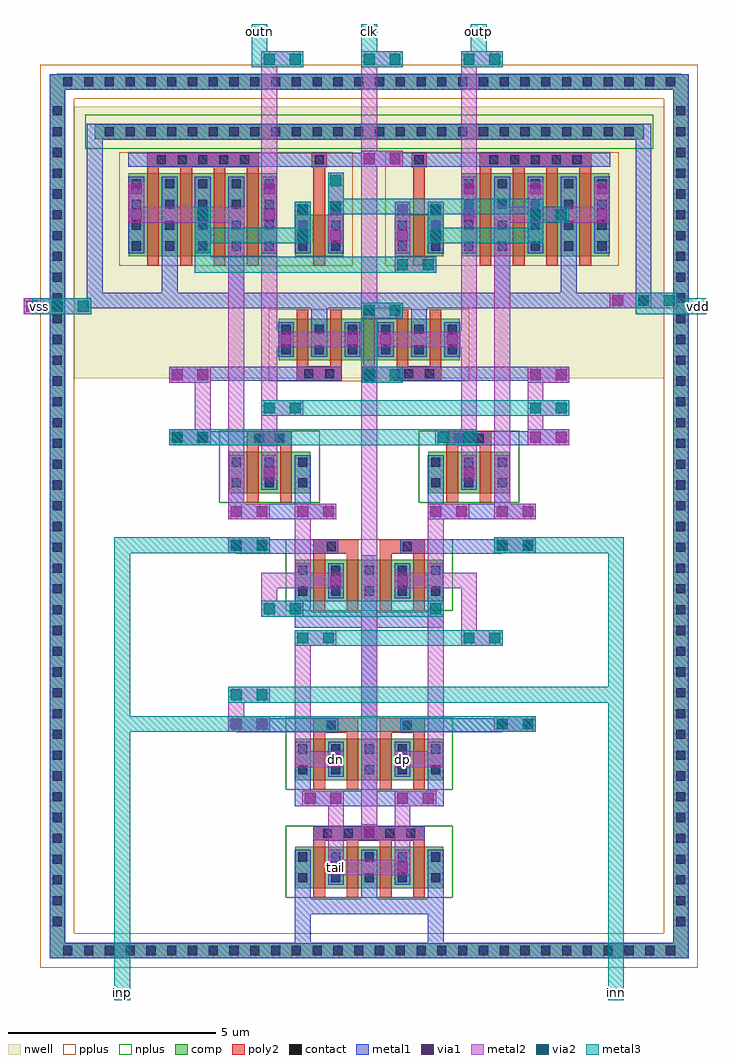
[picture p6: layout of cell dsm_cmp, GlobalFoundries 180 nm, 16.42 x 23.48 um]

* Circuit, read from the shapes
.subckt dsm_cmp clk dn dp inn inp outn outp tail vdd vss
XM1 outn outp dp vss nfet_03v3 w=1u l=0.28u m=2
XM2 tail clk vss vss nfet_03v3 w=1u l=0.28u m=4
XM3 dn inn tail vss nfet_03v3 w=1u l=0.28u m=4
XM4 dp inp tail vss nfet_03v3 w=1u l=0.28u m=4
XM5 outp outn dn vss nfet_03v3 w=1u l=0.28u m=2
XM6 vdd clk dp vdd pfet_03v3 w=2u l=0.28u m=3
XM7 outn clk vdd vdd pfet_03v3 w=2u l=0.28u
XM8 vdd outp outn vdd pfet_03v3 w=1u l=0.28u m=2
XM9 dn clk dp vdd pfet_03v3 w=1u l=0.28u m=2
XM10 outp clk outn vdd pfet_03v3 w=1u l=0.28u
XM11 vdd outn outp vdd pfet_03v3 w=1u l=0.28u m=2
XM12 vdd clk outp vdd pfet_03v3 w=2u l=0.28u
XM13 dn clk vdd vdd pfet_03v3 w=2u l=0.28u m=3
.ends

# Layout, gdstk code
import gdstk
lib = gdstk.Library(unit=1e-6, precision=1e-09)
def R(c, l, rs):  # rectangles x0, y0, x1, y1
    for r in rs: c.add(gdstk.rectangle(r[:2], r[2:], *l))
def A(c, l, x, y, w, h, nx, ny, dx, dy):  # array of equal rectangles
    R(c, l, [(x+i*dx, y+j*dy, x+i*dx+w, y+j*dy+h) for i in range(nx) for j in range(ny)])
nwell = (21, 0)
comp = (22, 0)
poly2 = (30, 0)
pplus = (31, 0)
nplus = (32, 0)
contact = (33, 0)
metal1 = (34, 0)
via1 = (35, 0)
metal2 = (36, 0)
via2 = (38, 0)
metal3 = (42, 0)

dsm_cmp = lib.new_cell('dsm_cmp')
R(dsm_cmp, nwell, [(0.82,14.77,15.02,21.3)])
R(dsm_cmp, comp, [(0.24,0.82,0.6,22.08), (0.42,0.82,15.42,1.18), (15.24,0.82,15.6,22.08), (6.14,2.5,9.7,3.5), (6.14,5.1,9.7,6.1), (6.14,9.4,9.7,10.4), (4.54,12,6.5,13), (9.34,12,11.3,13), (5.74,15.2,10.1,16.2), (2.14,17.7,5.7,19.7), (6.14,17.7,7.3,18.7), (8.54,17.7,9.7,18.7), (10.14,17.7,13.7,19.7), (1.32,20.52,14.52,20.88), (0.42,21.72,15.42,22.08)])
A(dsm_cmp, poly2, 6.58, 2.28, 0.28, 1.72, 4, 2, 0.8, 2.6)
A(dsm_cmp, poly2, 6.58, 9.18, 0.28, 1.72, 4, 1, 0.8, 0)
A(dsm_cmp, poly2, 6.18, 14.7, 0.28, 1.72, 5, 1, 0.8, 0)
A(dsm_cmp, poly2, 2.58, 17.48, 0.28, 2.72, 4, 1, 0.8, 0)
A(dsm_cmp, poly2, 10.58, 17.48, 0.28, 2.72, 4, 1, 0.8, 0)
R(dsm_cmp, poly2, [(6.58,3.64,9.26,4), (6.58,6.24,7.66,6.6), (8.18,6.24,9.26,6.6), (6.58,10.54,7.66,10.9), (8.18,10.54,9.26,10.9), (4.98,11.78,5.26,13.5), (5.78,11.78,6.06,13.5), (9.78,11.78,10.06,13.5), (10.58,11.78,10.86,13.5), (4.98,13.14,6.06,13.5), (9.78,13.14,10.86,13.5), (6.18,14.7,7.26,15.06), (7.74,14.7,8.1,15.06), (8.58,14.7,9.66,15.06), (6.58,17.48,6.86,20.2), (8.98,17.48,9.26,20.2), (2.58,19.84,5.26,20.2), (6.54,19.84,6.9,20.2), (8.94,19.84,9.3,20.2), (10.58,19.84,13.26,20.2)])
R(dsm_cmp, pplus, [(0.01,0.59,0.83,22.31), (0.19,0.59,15.65,1.41), (15.01,0.59,15.83,22.31), (5.51,14.7,10.33,16.43), (1.91,17.47,5.93,20.2), (5.91,17.47,7.53,20.2), (8.31,17.47,9.93,20.2), (9.91,17.47,13.93,20.2), (0.19,21.49,15.65,22.31)])
R(dsm_cmp, nplus, [(5.91,2.27,9.93,4), (5.91,4.87,9.93,6.6), (5.91,9.17,9.93,10.9), (4.31,11.77,6.73,13.5), (9.11,11.77,11.53,13.5), (1.09,20.29,14.75,21.11)])
A(dsm_cmp, contact, 0.56, 0.89, 0.22, 0.22, 30, 2, 0.5, 20.9)
A(dsm_cmp, contact, 0.31, 1.59, 0.22, 0.22, 1, 40, 0, 0.5)
A(dsm_cmp, contact, 15.31, 1.59, 0.22, 0.22, 1, 40, 0, 0.5)
A(dsm_cmp, contact, 6.21, 2.64, 0.22, 0.22, 5, 2, 0.8, 0.5)
A(dsm_cmp, contact, 6.81, 3.71, 0.22, 0.22, 5, 1, 0.5, 0)
A(dsm_cmp, contact, 6.21, 5.24, 0.22, 0.22, 5, 2, 0.8, 0.5)
A(dsm_cmp, contact, 6.21, 9.54, 0.22, 0.22, 5, 2, 0.8, 0.5)
A(dsm_cmp, contact, 4.61, 12.14, 0.22, 0.22, 3, 2, 0.8, 0.5)
A(dsm_cmp, contact, 9.41, 12.14, 0.22, 0.22, 3, 2, 0.8, 0.5)
A(dsm_cmp, contact, 6.86, 14.77, 0.22, 0.22, 3, 1, 0.95, 0)
A(dsm_cmp, contact, 5.81, 15.34, 0.22, 0.22, 6, 2, 0.8, 0.5)
A(dsm_cmp, contact, 2.21, 17.84, 0.22, 0.22, 7, 2, 0.8, 0.5)
A(dsm_cmp, contact, 8.61, 17.84, 0.22, 0.22, 7, 2, 0.8, 0.5)
A(dsm_cmp, contact, 2.21, 18.84, 0.22, 0.22, 5, 2, 0.8, 0.5)
A(dsm_cmp, contact, 10.21, 18.84, 0.22, 0.22, 5, 2, 0.8, 0.5)
A(dsm_cmp, contact, 2.81, 19.91, 0.22, 0.22, 5, 1, 0.5, 0)
A(dsm_cmp, contact, 10.81, 19.91, 0.22, 0.22, 5, 1, 0.5, 0)
A(dsm_cmp, contact, 1.56, 20.59, 0.22, 0.22, 26, 1, 0.5, 0)
R(dsm_cmp, contact, [(6.895,6.31,7.115,6.53), (8.725,6.31,8.945,6.53), (6.895,10.61,7.115,10.83), (8.725,10.61,8.945,10.83), (5.16,13.21,5.38,13.43), (5.66,13.21,5.88,13.43), (9.96,13.21,10.18,13.43), (10.46,13.21,10.68,13.43), (6.36,14.77,6.58,14.99), (9.26,14.77,9.48,14.99), (6.61,19.91,6.83,20.13), (9.01,19.91,9.23,20.13)])
A(dsm_cmp, metal1, 6.13, 1.87, 0.38, 1.55, 3, 2, 1.6, 2.6)
A(dsm_cmp, metal1, 6.13, 2.58, 0.38, 0.84, 5, 2, 0.8, 2.6)
A(dsm_cmp, metal1, 6.13, 8.77, 0.38, 1.55, 3, 1, 1.6, 0)
A(dsm_cmp, metal1, 6.13, 9.48, 0.38, 0.84, 5, 1, 0.8, 0)
A(dsm_cmp, metal1, 4.53, 12.08, 0.38, 0.84, 3, 1, 0.8, 0)
A(dsm_cmp, metal1, 9.33, 12.08, 0.38, 0.84, 3, 1, 0.8, 0)
A(dsm_cmp, metal1, 5.73, 15.28, 0.38, 0.84, 6, 1, 0.8, 0)
A(dsm_cmp, metal1, 2.13, 17.78, 0.38, 1.84, 5, 1, 0.8, 0)
A(dsm_cmp, metal1, 10.13, 17.78, 0.38, 1.84, 5, 1, 0.8, 0)
A(dsm_cmp, metal1, 10.13, 18.51, 0.38, 1, 3, 1, 1.6, 0)
R(dsm_cmp, metal1, [(0.42,0.81,15.42,1.19), (6.13,0.81,6.51,2.25), (9.33,0.81,9.71,2.25), (0.23,0.82,0.61,22.08), (15.23,0.82,15.61,22.08), (6.13,1.87,9.71,2.25), (6.93,2.81,7.31,3.19), (6.93,2.81,7.31,3.19), (8.53,2.81,8.91,3.19), (8.53,2.81,8.91,3.19), (6.58,3.65,9.26,3.99), (7.73,3.66,8.11,4.04), (7.73,3.66,8.11,4.04), (6.13,4.47,9.71,4.85), (6.31,4.47,7.31,4.85), (6.93,4.47,7.31,4.85), (6.93,4.47,7.31,4.85), (7.73,4.47,8.11,10.51), (8.53,4.47,8.91,4.85), (8.53,4.47,8.91,4.85), (8.53,4.47,9.53,4.85), (6.93,5.41,7.31,5.79), (6.93,5.41,7.31,5.79), (8.53,5.41,8.91,5.79), (8.53,5.41,8.91,5.79), (4.72,6.25,7.175,6.59), (8.665,6.25,11.12,6.59), (4.53,6.26,4.91,6.64), (4.53,6.26,4.91,6.64), (4.53,6.26,5.53,6.64), (10.93,6.26,11.31,6.64), (10.93,6.26,11.31,6.64), (10.93,6.26,11.93,6.64), (6.13,8.77,9.71,9.15), (6.93,9.71,7.31,10.09), (6.93,9.71,7.31,10.09), (8.53,9.71,8.91,10.09), (8.53,9.71,8.91,10.09), (4.72,10.55,7.175,10.89), (8.665,10.55,11.12,10.89), (4.53,10.56,4.91,10.94), (4.53,10.56,4.91,10.94), (4.53,10.56,5.53,10.94), (10.93,10.56,11.31,10.94), (10.93,10.56,11.31,10.94), (10.93,10.56,11.93,10.94), (4.53,11.37,4.91,11.75), (4.53,11.37,4.91,11.75), (4.53,11.37,4.91,12.92), (4.53,11.37,6.51,11.75), (4.53,11.37,5.53,11.75), (6.13,11.37,6.51,11.75), (6.13,11.37,6.51,11.75), (6.13,11.37,6.51,12.92), (6.13,11.37,7.13,11.75), (9.33,11.37,9.71,11.75), (9.33,11.37,9.71,11.75), (9.33,11.37,9.71,12.92), (9.33,11.37,11.31,11.75), (9.33,11.37,10.33,11.75), (10.93,11.37,11.31,11.75), (10.93,11.37,11.31,11.75), (10.93,11.37,11.31,12.92), (10.93,11.37,11.93,11.75), (5.33,12.31,5.71,12.69), (5.33,12.31,5.71,12.69), (10.13,12.31,10.51,12.69), (10.13,12.31,10.51,12.69), (3.92,13.15,6.06,13.49), (9.78,13.15,11.92,13.49), (3.11,13.16,4.11,13.54), (3.73,13.16,4.11,13.54), (3.73,13.16,4.11,13.54), (11.73,13.16,12.11,13.54), (11.73,13.16,12.11,13.54), (11.73,13.16,12.73,13.54), (3.11,14.66,4.11,15.04), (3.73,14.66,4.11,15.04), (3.73,14.66,4.11,15.04), (7.73,14.66,8.11,15.04), (7.73,14.66,8.11,15.04), (11.73,14.66,12.11,15.04), (11.73,14.66,12.11,15.04), (11.73,14.66,12.73,15.04), (3.92,14.71,7.26,15.05), (7.74,14.71,8.1,15.05), (8.58,14.71,11.92,15.05), (6.53,15.28,6.91,16.83), (8.93,15.28,9.31,16.83), (5.73,15.51,6.11,15.89), (5.73,15.51,6.11,15.89), (7.33,15.51,7.71,15.89), (7.33,15.51,7.71,15.89), (8.13,15.51,8.51,15.89), (8.13,15.51,8.51,15.89), (9.73,15.51,10.11,15.89), (9.73,15.51,10.11,15.89), (-0.39,16.31,0.61,16.69), (0.23,16.31,0.61,16.69), (0.23,16.31,0.61,16.69), (1.13,16.45,1.51,20.89), (1.13,16.45,14.71,16.83), (2.93,16.45,3.31,19.62), (2.93,16.45,4.91,16.83), (4.53,16.45,4.91,19.62), (6.53,16.45,9.31,16.83), (10.93,16.45,11.31,19.62), (10.93,16.45,12.91,16.83), (12.53,16.45,12.91,19.62), (13.71,16.45,14.71,16.83), (14.33,16.45,14.71,20.89), (14.33,16.45,14.71,16.83), (14.33,16.45,14.71,16.83), (6.13,17.78,6.51,18.62), (6.93,17.78,7.31,18.62), (8.53,17.78,8.91,18.62), (9.33,17.78,9.71,18.62), (6.13,18.01,6.51,18.39), (6.13,18.01,6.51,18.39), (6.13,18.01,6.51,19.01), (6.93,18.01,7.31,18.39), (6.93,18.01,7.31,18.39), (6.93,18.01,7.31,19.01), (8.53,18.01,8.91,18.39), (8.53,18.01,8.91,18.39), (8.53,18.01,8.91,19.01), (9.33,18.01,9.71,18.39), (9.33,18.01,9.71,18.39), (9.33,18.01,9.71,19.01), (2.13,18.51,2.51,18.89), (2.13,18.51,2.51,18.89), (2.13,18.51,2.51,19.51), (3.73,18.51,4.11,18.89), (3.73,18.51,4.11,18.89), (5.33,18.51,5.71,18.89), (5.33,18.51,5.71,18.89), (5.33,18.51,5.71,19.51), (10.13,18.51,10.51,18.89), (10.13,18.51,10.51,18.89), (11.73,18.51,12.11,18.89), (11.73,18.51,12.11,18.89), (13.33,18.51,13.71,18.89), (13.33,18.51,13.71,18.89), (2.12,19.85,5.26,20.19), (2.42,19.85,13.42,20.19), (6.54,19.85,6.9,20.19), (8.94,19.85,9.3,20.19), (10.58,19.85,13.72,20.19), (7.73,19.86,8.11,20.24), (7.73,19.86,8.11,20.24), (7.73,19.86,8.73,20.24), (1.32,20.51,14.52,20.89), (0.42,21.71,15.42,22.09)])
A(dsm_cmp, via1, 3.79, 14.72, 0.26, 0.26, 3, 1, 4, 0)
A(dsm_cmp, via1, 2.19, 18.57, 0.26, 0.26, 3, 1, 1.6, 0)
A(dsm_cmp, via1, 10.19, 18.57, 0.26, 0.26, 3, 2, 1.6, 0.62)
R(dsm_cmp, via1, [(6.99,2.87,7.25,3.13), (8.59,2.87,8.85,3.13), (7.79,3.72,8.05,3.98), (6.37,4.53,6.63,4.79), (6.99,4.53,7.25,4.79), (8.59,4.53,8.85,4.79), (9.21,4.53,9.47,4.79), (6.99,5.47,7.25,5.73), (8.59,5.47,8.85,5.73), (4.59,6.32,4.85,6.58), (5.21,6.32,5.47,6.58), (10.99,6.32,11.25,6.58), (11.61,6.32,11.87,6.58), (6.99,9.77,7.25,10.03), (8.59,9.77,8.85,10.03), (4.59,10.62,4.85,10.88), (5.21,10.62,5.47,10.88), (10.99,10.62,11.25,10.88), (11.61,10.62,11.87,10.88), (4.59,11.43,4.85,11.69), (5.21,11.43,5.47,11.69), (6.19,11.43,6.45,11.69), (6.81,11.43,7.07,11.69), (9.39,11.43,9.65,11.69), (10.01,11.43,10.27,11.69), (10.99,11.43,11.25,11.69), (11.61,11.43,11.87,11.69), (5.39,12.37,5.65,12.63), (10.19,12.37,10.45,12.63), (3.17,13.22,3.43,13.48), (3.79,13.22,4.05,13.48), (11.79,13.22,12.05,13.48), (12.41,13.22,12.67,13.48), (3.17,14.72,3.43,14.98), (12.41,14.72,12.67,14.98), (5.79,15.57,6.05,15.83), (7.39,15.57,7.65,15.83), (8.19,15.57,8.45,15.83), (9.79,15.57,10.05,15.83), (-0.33,16.37,-0.07,16.63), (0.29,16.37,0.55,16.63), (13.77,16.51,14.03,16.77), (14.39,16.51,14.65,16.77), (6.19,18.07,6.45,18.33), (6.99,18.07,7.25,18.33), (8.59,18.07,8.85,18.33), (9.39,18.07,9.65,18.33), (6.19,18.69,6.45,18.95), (6.99,18.69,7.25,18.95), (8.59,18.69,8.85,18.95), (9.39,18.69,9.65,18.95), (2.19,19.19,2.45,19.45), (5.39,19.19,5.65,19.45), (7.79,19.92,8.05,20.18), (8.41,19.92,8.67,20.18)])
A(dsm_cmp, metal2, 10.13, 18.51, 0.38, 1, 3, 1, 1.6, 0)
A(dsm_cmp, metal2, 5.33, 22.25, 1, 0.38, 3, 1, 2.4, 0)
R(dsm_cmp, metal2, [(6.93,2.81,7.31,4.85), (6.93,2.81,7.31,3.19), (6.93,2.81,7.31,3.19), (6.93,2.81,8.91,3.19), (8.53,2.81,8.91,4.85), (8.53,2.81,8.91,3.19), (8.53,2.81,8.91,3.19), (7.73,3.66,8.11,4.04), (7.73,3.66,8.11,4.04), (7.73,3.66,8.11,15.04), (6.31,4.47,7.31,4.85), (6.93,4.47,7.31,4.85), (6.93,4.47,7.31,4.85), (8.53,4.47,8.91,4.85), (8.53,4.47,8.91,4.85), (8.53,4.47,9.53,4.85), (6.13,5.41,6.51,8.71), (6.13,5.41,7.31,5.79), (6.93,5.41,7.31,5.79), (6.93,5.41,7.31,5.79), (8.53,5.41,8.91,5.79), (8.53,5.41,8.91,5.79), (8.53,5.41,9.71,5.79), (9.33,5.41,9.71,9.41), (4.53,6.26,4.91,6.64), (4.53,6.26,4.91,6.64), (4.53,6.26,4.91,7.34), (4.53,6.26,5.53,6.64), (10.93,6.26,11.31,6.64), (10.93,6.26,11.31,6.64), (10.93,6.26,11.31,6.64), (10.93,6.26,11.31,6.64), (10.93,6.26,11.93,6.64), (10.93,6.26,11.93,6.64), (4.53,6.96,4.91,7.34), (4.53,6.96,4.91,7.34), (4.53,6.96,5.53,7.34), (6.13,8.33,6.51,8.71), (6.13,8.33,6.51,8.71), (6.13,8.33,7.13,8.71), (10.13,8.33,10.51,10.09), (10.13,8.33,10.51,8.71), (10.13,8.33,10.51,8.71), (10.13,8.33,11.13,8.71), (5.33,9.03,5.71,9.41), (5.33,9.03,5.71,9.41), (5.33,9.03,5.71,10.09), (5.33,9.03,6.33,9.41), (9.33,9.03,9.71,9.41), (9.33,9.03,9.71,9.41), (5.33,9.71,7.31,10.09), (6.13,9.71,6.51,11.75), (6.93,9.71,7.31,10.09), (6.93,9.71,7.31,10.09), (8.53,9.71,8.91,10.09), (8.53,9.71,8.91,10.09), (8.53,9.71,10.51,10.09), (9.33,9.71,9.71,11.75), (4.53,10.56,4.91,10.94), (4.53,10.56,4.91,10.94), (4.53,10.56,4.91,10.94), (4.53,10.56,4.91,10.94), (4.53,10.56,5.53,10.94), (4.53,10.56,5.53,10.94), (10.93,10.56,11.31,10.94), (10.93,10.56,11.31,10.94), (10.93,10.56,11.31,10.94), (10.93,10.56,11.31,10.94), (10.93,10.56,11.93,10.94), (10.93,10.56,11.93,10.94), (4.53,11.37,4.91,11.75), (4.53,11.37,4.91,11.75), (4.53,11.37,5.53,11.75), (4.53,11.37,4.91,18.89), (6.13,11.37,6.51,11.75), (6.13,11.37,6.51,11.75), (6.13,11.37,7.13,11.75), (9.33,11.37,9.71,11.75), (9.33,11.37,9.71,11.75), (9.33,11.37,10.33,11.75), (10.93,11.37,11.31,11.75), (10.93,11.37,11.31,11.75), (10.93,11.37,11.93,11.75), (10.93,11.37,11.31,18.89), (5.33,12.31,5.71,12.69), (5.33,12.31,5.71,12.69), (5.33,12.31,5.71,22.63), (10.13,12.31,10.51,12.69), (10.13,12.31,10.51,12.69), (10.13,12.31,10.51,22.63), (3.11,13.16,4.11,13.54), (3.11,13.16,4.11,13.54), (3.73,13.16,4.11,13.54), (3.73,13.16,4.11,13.54), (3.73,13.16,4.11,13.54), (3.73,13.16,4.11,13.54), (3.73,13.16,4.11,15.04), (9.51,13.16,10.51,13.54), (10.13,13.16,10.51,13.54), (10.13,13.16,10.51,13.54), (11.73,13.16,12.11,13.54), (11.73,13.16,12.11,13.54), (11.73,13.16,12.11,15.04), (11.73,13.16,12.73,13.54), (5.33,13.86,5.71,14.24), (5.33,13.86,5.71,14.24), (5.33,13.86,6.33,14.24), (11.73,13.86,12.11,14.24), (11.73,13.86,12.11,14.24), (11.73,13.86,12.73,14.24), (3.11,14.66,4.11,15.04), (3.73,14.66,4.11,15.04), (3.73,14.66,4.11,15.04), (7.73,14.66,8.11,15.04), (7.73,14.66,8.11,15.04), (7.73,14.66,8.11,15.04), (7.73,14.66,8.11,15.04), (7.73,14.66,8.73,15.04), (11.73,14.66,12.11,15.04), (11.73,14.66,12.11,15.04), (11.73,14.66,12.73,15.04), (5.33,15.51,7.71,15.89), (5.73,15.51,6.11,15.89), (5.73,15.51,6.11,15.89), (7.33,15.51,7.71,15.89), (7.33,15.51,7.71,15.89), (8.13,15.51,8.51,15.89), (8.13,15.51,8.51,15.89), (8.13,15.51,10.51,15.89), (9.73,15.51,10.11,15.89), (9.73,15.51,10.11,15.89), (7.73,16.21,8.11,16.59), (7.73,16.21,8.11,16.59), (7.73,16.21,8.11,22.63), (7.73,16.21,8.73,16.59), (-0.39,16.31,0.61,16.69), (0.23,16.31,0.61,16.69), (0.23,16.31,0.61,16.69), (0.23,16.31,0.61,16.69), (0.23,16.31,0.61,16.69), (0.23,16.31,1.23,16.69), (13.71,16.45,14.71,16.83), (14.33,16.45,14.71,16.83), (14.33,16.45,14.71,16.83), (14.33,16.45,14.71,16.83), (14.33,16.45,14.71,16.83), (14.33,16.45,15.33,16.83), (8.53,17.31,8.91,17.69), (8.53,17.31,8.91,17.69), (8.53,17.31,8.91,18.39), (8.53,17.31,9.53,17.69), (6.13,18.01,6.51,18.39), (6.13,18.01,6.51,18.39), (6.13,18.01,6.51,18.39), (6.13,18.01,6.51,18.39), (6.13,18.01,6.51,19.01), (6.13,18.01,6.51,19.01), (6.93,18.01,7.31,18.39), (6.93,18.01,7.31,18.39), (6.93,18.01,7.31,19.09), (6.93,18.01,7.31,19.01), (8.53,18.01,8.91,18.39), (8.53,18.01,8.91,18.39), (8.53,18.01,8.91,19.01), (9.33,18.01,9.71,18.39), (9.33,18.01,9.71,18.39), (9.33,18.01,9.71,18.39), (9.33,18.01,9.71,18.39), (9.33,18.01,9.71,19.01), (9.33,18.01,9.71,19.01), (2.13,18.51,2.51,18.89), (2.13,18.51,2.51,18.89), (2.13,18.51,4.91,18.89), (2.13,18.51,2.51,19.51), (3.73,18.51,4.11,18.89), (3.73,18.51,4.11,18.89), (3.73,18.51,4.11,18.89), (3.73,18.51,4.11,18.89), (5.33,18.51,5.71,18.89), (5.33,18.51,5.71,18.89), (5.33,18.51,5.71,19.51), (10.13,18.51,10.51,18.89), (10.13,18.51,10.51,18.89), (10.93,18.51,13.71,18.89), (11.73,18.51,12.11,18.89), (11.73,18.51,12.11,18.89), (11.73,18.51,12.11,18.89), (11.73,18.51,12.11,18.89), (11.73,18.51,12.73,18.89), (13.33,18.51,13.71,18.89), (13.33,18.51,13.71,18.89), (6.93,18.71,7.31,19.09), (6.93,18.71,7.31,19.09), (6.93,18.71,7.31,19.71), (7.73,19.86,8.11,20.24), (7.73,19.86,8.11,20.24), (7.73,19.86,8.73,20.24), (5.33,22.25,5.71,22.63), (5.33,22.25,5.71,22.63), (7.73,22.25,8.11,22.63), (7.73,22.25,8.11,22.63), (10.13,22.25,10.51,22.63), (10.13,22.25,10.51,22.63)])
R(dsm_cmp, via2, [(10.99,6.32,11.25,6.58), (11.61,6.32,11.87,6.58), (4.59,7.02,4.85,7.28), (5.21,7.02,5.47,7.28), (6.19,8.39,6.45,8.65), (6.81,8.39,7.07,8.65), (10.19,8.39,10.45,8.65), (10.81,8.39,11.07,8.65), (5.39,9.09,5.65,9.35), (6.01,9.09,6.27,9.35), (9.39,9.09,9.65,9.35), (4.59,10.62,4.85,10.88), (5.21,10.62,5.47,10.88), (10.99,10.62,11.25,10.88), (11.61,10.62,11.87,10.88), (3.17,13.22,3.43,13.48), (3.79,13.22,4.05,13.48), (9.57,13.22,9.83,13.48), (10.19,13.22,10.45,13.48), (5.39,13.92,5.65,14.18), (6.01,13.92,6.27,14.18), (11.79,13.92,12.05,14.18), (12.41,13.92,12.67,14.18), (7.79,14.72,8.05,14.98), (8.41,14.72,8.67,14.98), (7.79,16.27,8.05,16.53), (8.41,16.27,8.67,16.53), (0.29,16.37,0.55,16.63), (0.91,16.37,1.17,16.63), (14.39,16.51,14.65,16.77), (15.01,16.51,15.27,16.77), (8.59,17.37,8.85,17.63), (9.21,17.37,9.47,17.63), (6.19,18.07,6.45,18.33), (9.39,18.07,9.65,18.33), (3.79,18.57,4.05,18.83), (11.79,18.57,12.05,18.83), (12.41,18.57,12.67,18.83), (6.19,18.69,6.45,18.95), (9.39,18.69,9.65,18.95), (6.99,18.77,7.25,19.03), (6.99,19.39,7.25,19.65), (5.39,22.31,5.65,22.57), (6.01,22.31,6.27,22.57), (7.79,22.31,8.05,22.57), (8.41,22.31,8.67,22.57), (10.19,22.31,10.45,22.57), (10.81,22.31,11.07,22.57)])
A(dsm_cmp, metal3, 5.09, 22.25, 0.38, 1.04, 3, 1, 2.64, 0)
A(dsm_cmp, metal3, 5.33, 22.25, 1, 0.38, 3, 1, 2.4, 0)
R(dsm_cmp, metal3, [(1.79,-0.19,2.17,10.94), (13.67,-0.19,14.05,10.94), (1.79,6.26,2.17,10.94), (1.79,6.26,11.31,6.64), (10.93,6.26,11.31,6.64), (10.93,6.26,11.31,6.64), (10.93,6.26,11.93,6.64), (4.53,6.96,4.91,7.34), (4.53,6.96,4.91,7.34), (4.53,6.96,14.05,7.34), (4.53,6.96,5.53,7.34), (13.67,6.96,14.05,10.94), (6.13,8.33,6.51,8.71), (6.13,8.33,6.51,8.71), (6.13,8.33,7.13,8.71), (6.13,8.33,10.51,8.71), (10.13,8.33,10.51,8.71), (10.13,8.33,10.51,8.71), (10.13,8.33,11.13,8.71), (5.33,9.03,5.71,9.41), (5.33,9.03,5.71,9.41), (5.33,9.03,6.33,9.41), (5.33,9.03,9.71,9.41), (9.33,9.03,9.71,9.41), (9.33,9.03,9.71,9.41), (1.79,10.56,4.91,10.94), (4.53,10.56,4.91,10.94), (4.53,10.56,4.91,10.94), (4.53,10.56,5.53,10.94), (10.93,10.56,14.05,10.94), (10.93,10.56,11.31,10.94), (10.93,10.56,11.31,10.94), (10.93,10.56,11.93,10.94), (3.11,13.16,4.11,13.54), (3.73,13.16,10.51,13.54), (3.73,13.16,4.11,13.54), (3.73,13.16,4.11,13.54), (9.51,13.16,10.51,13.54), (10.13,13.16,10.51,13.54), (10.13,13.16,10.51,13.54), (5.33,13.86,12.11,14.24), (5.33,13.86,5.71,14.24), (5.33,13.86,5.71,14.24), (5.33,13.86,6.33,14.24), (11.73,13.86,12.11,14.24), (11.73,13.86,12.11,14.24), (11.73,13.86,12.73,14.24), (7.73,14.66,8.11,15.04), (7.73,14.66,8.11,15.04), (7.73,14.66,8.11,16.59), (7.73,14.66,8.73,15.04), (7.73,16.21,8.11,16.59), (7.73,16.21,8.11,16.59), (7.73,16.21,8.73,16.59), (-0.19,16.31,0.61,16.69), (0.23,16.31,0.61,16.69), (0.23,16.31,0.61,16.69), (0.23,16.31,1.23,16.69), (14.33,16.31,16.03,16.69), (14.33,16.31,14.71,16.83), (14.33,16.45,14.71,16.83), (14.33,16.45,14.71,16.83), (14.33,16.45,15.33,16.83), (3.73,17.31,4.11,18.89), (3.73,17.31,8.91,17.69), (8.53,17.31,8.91,17.69), (8.53,17.31,8.91,17.69), (8.53,17.31,9.53,17.69), (3.73,18.01,6.51,18.39), (6.13,18.01,6.51,19.01), (6.13,18.01,6.51,18.39), (6.13,18.01,6.51,18.39), (9.33,18.01,9.71,19.01), (9.33,18.01,12.11,18.39), (9.33,18.01,9.71,18.39), (9.33,18.01,9.71,18.39), (11.73,18.01,12.11,18.89), (11.73,18.01,12.11,19.09), (3.73,18.51,4.11,18.89), (3.73,18.51,4.11,18.89), (11.73,18.51,12.11,18.89), (11.73,18.51,12.11,18.89), (11.73,18.51,12.73,18.89), (6.93,18.71,7.31,19.71), (6.93,18.71,7.31,19.09), (6.93,18.71,7.31,19.09), (6.93,18.71,12.11,19.09), (5.09,22.25,5.71,22.63), (5.33,22.25,5.71,22.63), (5.33,22.25,5.71,22.63), (7.73,22.25,8.11,22.63), (7.73,22.25,8.11,22.63), (10.13,22.25,10.51,22.63), (10.13,22.25,10.51,22.63), (10.13,22.25,10.75,22.63)])
dsm_cmp.add(gdstk.Label('vss', (0,16.5), layer=42, texttype=10))
dsm_cmp.add(gdstk.Label('vdd', (15.84,16.5), layer=42, texttype=10))
dsm_cmp.add(gdstk.Label('inn', (13.86,0), layer=42, texttype=10))
dsm_cmp.add(gdstk.Label('outp', (10.56,23.1), layer=42, texttype=10))
dsm_cmp.add(gdstk.Label('inp', (1.98,0), layer=42, texttype=10))
dsm_cmp.add(gdstk.Label('outn', (5.28,23.1), layer=42, texttype=10))
dsm_cmp.add(gdstk.Label('clk', (7.92,23.1), layer=42, texttype=10))
dsm_cmp.add(gdstk.Label('dn', (7.12,5.6), layer=34, texttype=10))
dsm_cmp.add(gdstk.Label('tail', (7.12,3), layer=34, texttype=10))
dsm_cmp.add(gdstk.Label('dp', (8.72,5.6), layer=34, texttype=10))

lib.write_gds('dsm_cmp.gds')
